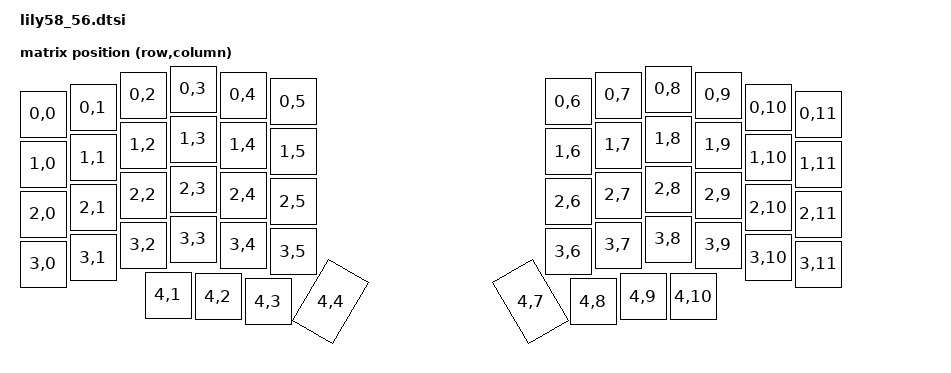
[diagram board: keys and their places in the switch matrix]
/*
 * Lily58 Pro with the inner key under each nice!nano REMOVED (56 keys).
 * Shared by the dongle AND both halves so key numbering always matches.
 * Coordinates from ZMK's kata0510 Lily58 layout.
 */
#include <dt-bindings/zmk/matrix_transform.h>
#include <physical_layouts.dtsi>

/ {
    transform_56: keymap_transform_56 {
        compatible = "zmk,matrix-transform";
        columns = <12>;
        rows = <5>;
        map = <
RC(0,0) RC(0,1) RC(0,2) RC(0,3) RC(0,4) RC(0,5)   RC(0,6) RC(0,7) RC(0,8) RC(0,9) RC(0,10) RC(0,11)
RC(1,0) RC(1,1) RC(1,2) RC(1,3) RC(1,4) RC(1,5)   RC(1,6) RC(1,7) RC(1,8) RC(1,9) RC(1,10) RC(1,11)
RC(2,0) RC(2,1) RC(2,2) RC(2,3) RC(2,4) RC(2,5)   RC(2,6) RC(2,7) RC(2,8) RC(2,9) RC(2,10) RC(2,11)
RC(3,0) RC(3,1) RC(3,2) RC(3,3) RC(3,4) RC(3,5)   RC(3,6) RC(3,7) RC(3,8) RC(3,9) RC(3,10) RC(3,11)
                RC(4,1) RC(4,2) RC(4,3) RC(4,4)   RC(4,7) RC(4,8) RC(4,9) RC(4,10)
        >;
    };

    lily58_56_layout: lily58_56_layout {
        compatible = "zmk,physical-layout";
        display-name = "Lily58 (56 keys)";
        transform = <&transform_56>;

        keys  //                     w   h    x    y     rot    rx    ry
            = <&key_physical_attrs 100 100    0   50     0    0    0>
            , <&key_physical_attrs 100 100  100   37     0    0    0>
            , <&key_physical_attrs 100 100  200   12     0    0    0>
            , <&key_physical_attrs 100 100  300    0     0    0    0>
            , <&key_physical_attrs 100 100  400   12     0    0    0>
            , <&key_physical_attrs 100 100  500   25     0    0    0>
            , <&key_physical_attrs 100 100 1050   25     0    0    0>
            , <&key_physical_attrs 100 100 1150   12     0    0    0>
            , <&key_physical_attrs 100 100 1250    0     0    0    0>
            , <&key_physical_attrs 100 100 1350   12     0    0    0>
            , <&key_physical_attrs 100 100 1450   37     0    0    0>
            , <&key_physical_attrs 100 100 1550   50     0    0    0>
            , <&key_physical_attrs 100 100    0  150     0    0    0>
            , <&key_physical_attrs 100 100  100  137     0    0    0>
            , <&key_physical_attrs 100 100  200  112     0    0    0>
            , <&key_physical_attrs 100 100  300  100     0    0    0>
            , <&key_physical_attrs 100 100  400  112     0    0    0>
            , <&key_physical_attrs 100 100  500  125     0    0    0>
            , <&key_physical_attrs 100 100 1050  125     0    0    0>
            , <&key_physical_attrs 100 100 1150  112     0    0    0>
            , <&key_physical_attrs 100 100 1250  100     0    0    0>
            , <&key_physical_attrs 100 100 1350  112     0    0    0>
            , <&key_physical_attrs 100 100 1450  137     0    0    0>
            , <&key_physical_attrs 100 100 1550  150     0    0    0>
            , <&key_physical_attrs 100 100    0  250     0    0    0>
            , <&key_physical_attrs 100 100  100  237     0    0    0>
            , <&key_physical_attrs 100 100  200  212     0    0    0>
            , <&key_physical_attrs 100 100  300  200     0    0    0>
            , <&key_physical_attrs 100 100  400  212     0    0    0>
            , <&key_physical_attrs 100 100  500  225     0    0    0>
            , <&key_physical_attrs 100 100 1050  225     0    0    0>
            , <&key_physical_attrs 100 100 1150  212     0    0    0>
            , <&key_physical_attrs 100 100 1250  200     0    0    0>
            , <&key_physical_attrs 100 100 1350  212     0    0    0>
            , <&key_physical_attrs 100 100 1450  237     0    0    0>
            , <&key_physical_attrs 100 100 1550  250     0    0    0>
            , <&key_physical_attrs 100 100    0  350     0    0    0>
            , <&key_physical_attrs 100 100  100  337     0    0    0>
            , <&key_physical_attrs 100 100  200  312     0    0    0>
            , <&key_physical_attrs 100 100  300  300     0    0    0>
            , <&key_physical_attrs 100 100  400  312     0    0    0>
            , <&key_physical_attrs 100 100  500  325     0    0    0>
            , <&key_physical_attrs 100 100 1050  325     0    0    0>
            , <&key_physical_attrs 100 100 1150  312     0    0    0>
            , <&key_physical_attrs 100 100 1250  300     0    0    0>
            , <&key_physical_attrs 100 100 1350  312     0    0    0>
            , <&key_physical_attrs 100 100 1450  337     0    0    0>
            , <&key_physical_attrs 100 100 1550  350     0    0    0>
            , <&key_physical_attrs 100 100  250  412     0    0    0>
            , <&key_physical_attrs 100 100  350  415     0    0    0>
            , <&key_physical_attrs 100 100  450  425     0    0    0>
            , <&key_physical_attrs 100 150  575  400  3000  625  475>
            , <&key_physical_attrs 100 150  975  400 (-3000) 1025  475>
            , <&key_physical_attrs 100 100 1100  425     0    0    0>
            , <&key_physical_attrs 100 100 1200  415     0    0    0>
            , <&key_physical_attrs 100 100 1300  415     0    0    0>
            ;
    };
};
